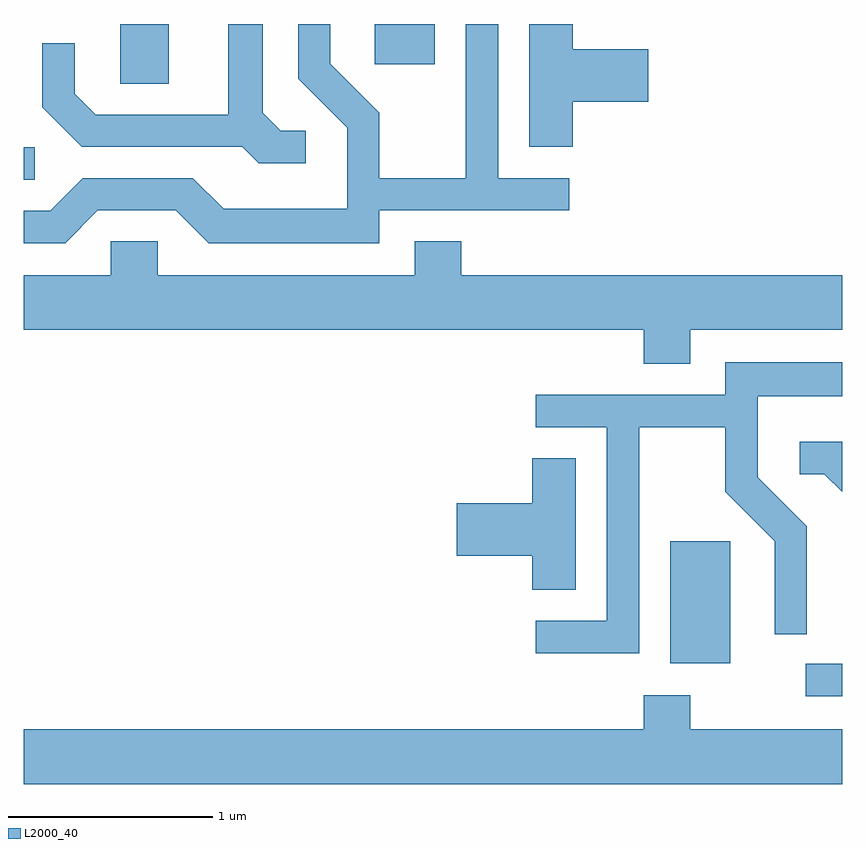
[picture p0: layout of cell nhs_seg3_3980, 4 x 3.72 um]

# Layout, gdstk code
import gdstk
lib = gdstk.Library(unit=1e-6, precision=1e-09)
def R(c, l, rs):  # rectangles x0, y0, x1, y1
    for r in rs: c.add(gdstk.rectangle(r[:2], r[2:], *l))
def P(c, l, *ps):  # polygons
    for p in ps: c.add(gdstk.Polygon(p, *l))
L2000_40 = (2000, 40)

nhs_seg3_3980 = lib.new_cell('nhs_seg3_3980')
R(nhs_seg3_3980, L2000_40, [(305.433,1188.606,305.611,1188.764), (304.771,1188.766,305.064,1189.364), (301.611,1191.131,301.663,1191.289), (302.081,1191.601,302.319,1191.892), (303.326,1191.696,303.619,1191.892)])
P(nhs_seg3_3980, L2000_40, [(304.294,1191.511),(304.664,1191.511),(304.664,1191.769),(304.294,1191.769),(304.294,1191.892),(304.081,1191.892),(304.081,1191.291),(304.294,1191.291)],
  [(302.988,1191.369),(302.867,1191.369),(302.779,1191.457),(302.779,1191.892),(302.611,1191.892),(302.611,1191.449),(301.962,1191.449),(301.859,1191.552),(301.859,1191.798),(301.701,1191.798),(301.701,1191.484),(301.894,1191.291),(302.679,1191.291),(302.759,1191.211),(302.988,1191.211)],
  [(301.972,1190.981),(302.354,1190.981),(302.514,1190.821),(303.349,1190.821),(303.349,1190.981),(304.278,1190.981),(304.278,1191.139),(303.929,1191.139),(303.929,1191.892),(303.771,1191.892),(303.771,1191.139),(303.349,1191.139),(303.349,1191.457),(303.109,1191.697),(303.109,1191.892),(302.951,1191.892),(302.951,1191.624),(303.191,1191.384),(303.191,1190.989),(302.587,1190.989),(302.437,1191.139),(301.899,1191.139),(301.739,1190.979),(301.611,1190.979),(301.611,1190.821),(301.812,1190.821)],
  [(304.869,1190.396),(305.611,1190.396),(305.611,1190.664),(303.749,1190.664),(303.749,1190.829),(303.521,1190.829),(303.521,1190.664),(302.264,1190.664),(302.264,1190.829),(302.036,1190.829),(302.036,1190.664),(301.611,1190.664),(301.611,1190.396),(304.641,1190.396),(304.641,1190.231),(304.869,1190.231)],
  [(304.619,1189.921),(305.041,1189.921),(305.041,1189.604),(305.281,1189.364),(305.281,1188.908),(305.439,1188.908),(305.439,1189.437),(305.199,1189.677),(305.199,1190.071),(305.611,1190.071),(305.611,1190.239),(305.041,1190.239),(305.041,1190.079),(304.113,1190.079),(304.113,1189.921),(304.461,1189.921),(304.461,1188.974),(304.113,1188.974),(304.113,1188.816),(304.619,1188.816)],
  [(305.611,1189.849),(305.403,1189.849),(305.403,1189.691),(305.524,1189.691),(305.611,1189.604)],
  [(304.309,1189.769),(304.096,1189.769),(304.096,1189.549),(303.726,1189.549),(303.726,1189.291),(304.096,1189.291),(304.096,1189.126),(304.309,1189.126)],
  [(305.611,1188.444),(304.869,1188.444),(304.869,1188.609),(304.641,1188.609),(304.641,1188.444),(301.611,1188.444),(301.611,1188.176),(305.611,1188.176)])

lib.write_gds('nhs_seg3_3980.gds')
